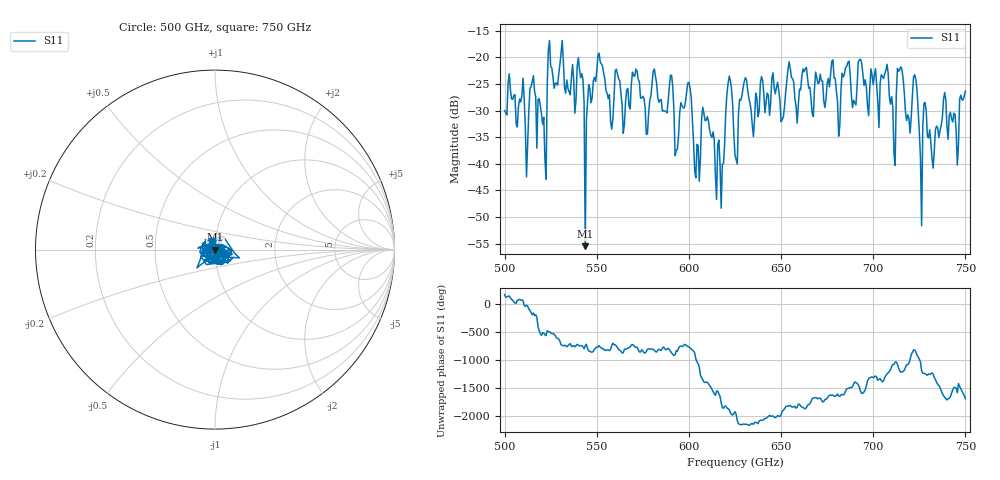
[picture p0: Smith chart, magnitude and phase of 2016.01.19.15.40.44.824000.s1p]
!Created with skrf (http://scikit-rf.org).
# GHz S RI R 50.0
!freq ReS11 ImS11
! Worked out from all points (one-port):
!   401 points, 500 GHz to 750 GHz, reference 50 ohm
!   lowest |S11| = -55.5 dB at 543.8 GHz (marker M1), VSWR 1.00, Z = 50.2 - j0.0712 ohm
!   |S11| at or under -10 dB: start of sweep to end of sweep
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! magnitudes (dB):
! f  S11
! 500 GHz  -30.0
! 515 GHz  -24.6
! 521.2 GHz  -31.3
! 524.4 GHz  -16.9
! 531.2 GHz  -16.8
! 541.2 GHz  -23.8
! 543.8 GHz  -55.5
! 551.2 GHz  -19.2
! 562.5 GHz  -24.4
! 590 GHz  -23.3
! 593.8 GHz  -37.2
! 600 GHz  -24.7
! 604.4 GHz  -36.3
! 608.8 GHz  -31.9
! 618.1 GHz  -40.0
! 621.9 GHz  -23.5
! 625 GHz  -38.4
! 630 GHz  -24.6
! 656.2 GHz  -24.0
! 687.5 GHz  -23.4
! 706.9 GHz  -22.4
! 710.6 GHz  -29.4
! 714.4 GHz  -22.3
! 718.8 GHz  -30.8
! 722.5 GHz  -23.3
! 725.6 GHz  -38.9
! 732.5 GHz  -40.8
! 750 GHz  -26.3
